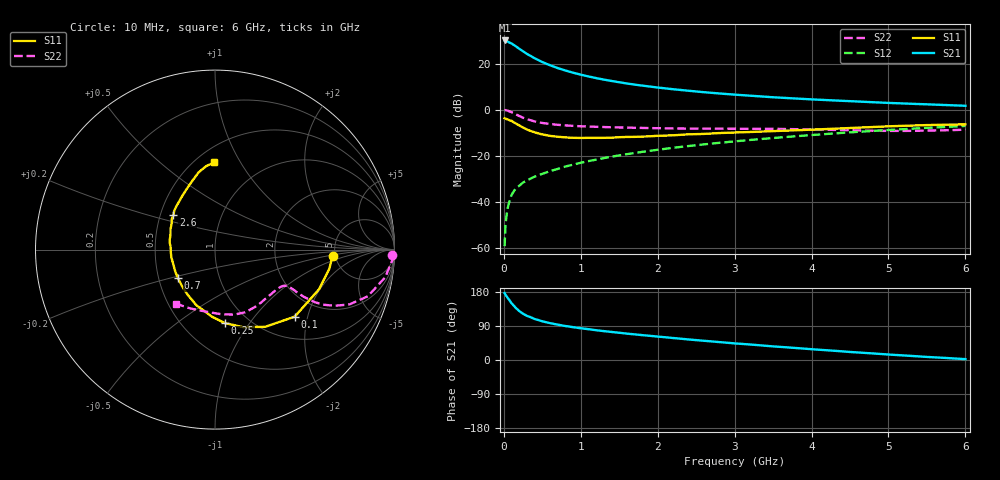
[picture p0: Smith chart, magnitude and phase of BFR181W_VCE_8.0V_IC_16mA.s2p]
! Infineon Technologies  Discrete & RF Semiconductors
! BFR181W
! VCE =  8.0 V,  IC =  16 mA
! Common Emitter S-Parameters:  Jan 2017
# GHz  S  MA  R  50
!  f  S11  S21  S12  S22
! GHz  MAG  ANG  MAG  ANG  MAG  ANG  MAG  ANG
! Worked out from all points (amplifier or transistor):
!   77 points, 10 MHz to 6 GHz, reference 50 ohm
!   highest |S21| = 30.1 dB at 10 MHz (marker M1)
!   |S21| within 3 dB of that: start of sweep to 175.2 MHz
!   unconditionally stable (mu >= 1): 873.4 MHz to 2.642 GHz
!   at 130 MHz: K = 0.35, MSG = 31.7 dB, |S12| = -35.3 dB
!   at 2.2 GHz: K = 1.03, MAG = 11.7 dB, |S12| = -16.5 dB
!   at 6 GHz: K = 0.83, MSG = 4.4 dB, |S12| = -7.0 dB
!   S11 on the Smith chart (normalised r, x): 10 MHz: 4.75, -0.57; 100 MHz: 1.48, -1.67; 250 MHz: 0.78, -0.77; 700 MHz: 0.63, -0.21; 2.6 GHz: 0.59, +0.25; 6 GHz: 0.61, +0.78
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0.01  0.6566 -3.0  32.09 176.4  0.0011 85.5  0.9869 -1.6
0.02  0.6458 -9.5  31.62 172.6  0.0028 88.3  0.989 -3.5
0.05  0.6205 -20.8  30.42 163.9  0.0073 78.0  0.9608 -9.3
0.1  0.5805 -40.0  27.62 149.7  0.0141 76.1  0.8896 -17.0
0.15  0.5132 -57.0  24.36 138.4  0.0191 69.1  0.8085 -22.2
0.2  0.4597 -70.1  21.21 129.2  0.0225 67.5  0.7356 -25.2
0.25  0.4131 -82.3  18.64 122.0  0.0265 65.4  0.6754 -27.0
0.3  0.375 -92.4  16.4 116.5  0.0293 64.5  0.6271 -27.8
0.4  0.3266 -108.6  13.19 108.1  0.0355 64.1  0.5616 -28.0
0.5  0.2928 -121.8  10.91 102.1  0.0408 65.5  0.5196 -27.6
0.6  0.273 -132.8  9.299 97.3  0.0469 66.4  0.4929 -27.1
0.7  0.2605 -142.4  8.073 93.3  0.0522 68.9  0.4737 -26.8
0.9  0.2473 -158.3  6.393 86.6  0.0647 69.4  0.4494 -26.8
1.1  0.2471 -170.3  5.311 81.3  0.0772 70.1  0.4345 -27.6
1.3  0.247 179.4  4.535 76.2  0.0898 70.7  0.424 -29.1
1.5  0.2553 171.5  3.971 71.9  0.1028 70.5  0.415 -31.1
2.1  0.2765 152.4  2.927 60.0  0.143 69.1  0.3975 -39.4
2.6  0.3006 140.6  2.419 50.7  0.178 66.9  0.3911 -48.3
3.1  0.3265 130.2  2.085 42.4  0.2145 63.9  0.3882 -57.3
4.1  0.3779 113.7  1.658 27.1  0.2917 56.9  0.3739 -75.4
5.1  0.4447 100.8  1.395 13.2  0.3733 48.2  0.3488 -100.9
6  0.4855 90.6  1.227 2.3  0.4475 39.4  0.3712 -125.7
